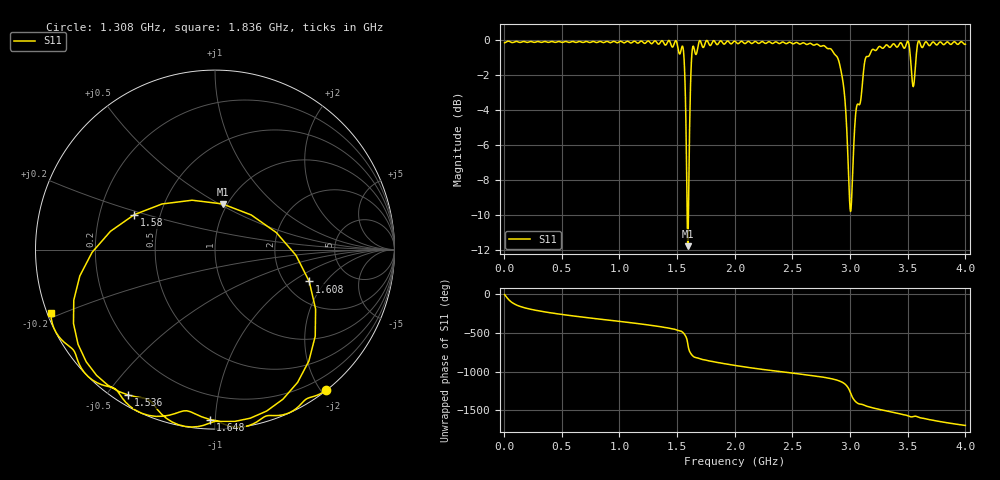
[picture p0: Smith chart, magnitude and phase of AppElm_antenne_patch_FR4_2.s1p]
! TOUCHSTONE file generated by CST MICROWAVE STUDIO
! Date and time: Tue Jun 14 11:27:47 2022
! Project name: AppElm_antenne_patch_FR4.cst
! Parameters = {L=45; W=46.8; e=0.035; h=1.6; lambda=0.190476; ls=120; w0=2.54; w1=0.847; ws=120; y0=18; y1=23.8}
! Header version: 2018
! Port assignment regex: !\s*Touchstone port\s*([0-9]+)\s*=\s*(CST MWS port|CST DS port)\s*([0-9]+|Zmin|Zmax)\s*\(\"(.*)\"\)(\s*mode\s*([0-9]+))?.*
! Touchstone port assignment:
! Touchstone port 1 = CST MWS port 1 ("")
# GHz S MA R 50
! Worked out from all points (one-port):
!   1000 points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, 4 MHz to 4 GHz, reference 50 ohm
!   lowest |S11| = -11.8 dB at 1.592 GHz (marker M1), VSWR 1.70, Z = 47.5 + j25.9 ohm
!   |S11| at or under -10 dB: 1.587 GHz to 1.598 GHz (10.75 MHz wide, 0.675 % of centre)
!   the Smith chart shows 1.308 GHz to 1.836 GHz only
!   S11 on the Smith chart (normalised r, x): 1.308 GHz: 0.01, -2.06; 1.536 GHz: 0.04, -0.57; 1.58 GHz: 0.35, +0.18; 1.608 GHz: 2.70, -1.38; 1.648 GHz: 0.05, -0.97; 1.836 GHz: 0.01, -0.19
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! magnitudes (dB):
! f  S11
! 4 MHz  -0.1
! 504 MHz  -0.1
! 1.004 GHz  -0.1
! 1.308 GHz  0.0
! 1.504 GHz  -0.3
! 1.536 GHz  -0.5
! 1.548 GHz  -0.3
! 1.56 GHz  -1.0
! 1.58 GHz  -6.2
! 1.592 GHz  -11.8
! 1.608 GHz  -5.1
! 1.628 GHz  -0.8
! 1.648 GHz  -0.5
! 1.836 GHz  -0.2
! 2.004 GHz  -0.1
! 2.504 GHz  -0.2
! 2.776 GHz  -0.3
! 2.896 GHz  -1.1
! 2.948 GHz  -2.9
! 2.992 GHz  -8.6
! 3.004 GHz  -9.8
! 3.016 GHz  -8.7
! 3.052 GHz  -4.0
! 3.14 GHz  -0.9
! 3.504 GHz  -0.1
! 3.548 GHz  -2.6
! 3.6 GHz  -0.1
! 4 GHz  -0.2
